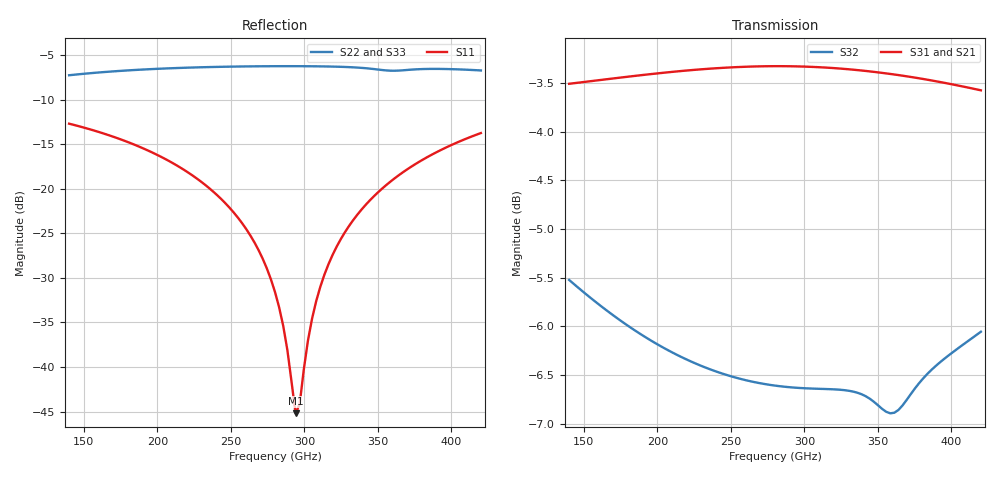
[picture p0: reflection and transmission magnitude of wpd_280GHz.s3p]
#  GHZ S DB R 50
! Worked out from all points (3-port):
!   101 points, 140 GHz to 420 GHz, reference 50 ohm
!   strongest paths, dB at 140 GHz, 210 GHz, 280 GHz, 350 GHz, 420 GHz:
!     S31: -3.5, -3.4, -3.3, -3.4, -3.6
!     S21: -3.5, -3.4, -3.3, -3.4, -3.6
!     S32: -5.5, -6.3, -6.6, -6.8, -6.1
!   lowest |S11| = -45.2 dB at 294 GHz (marker M1), VSWR 1.01, Z = 49.5 + j0.2 ohm
!   |S11| at or under -10 dB: start of sweep to end of sweep
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140  -12.70 135.9  -3.51 -43.4  -3.51 -43.4
     -3.51 -43.4  -7.27 53.8  -5.52 -95.4
     -3.51 -43.4  -5.52 -95.4  -7.28 53.8
235.2  -19.93 107.3  -3.36 -74.1  -3.35 -74.1
       -3.36 -74.1  -6.35 11.8  -6.44 -150.7
       -3.35 -74.1  -6.44 -150.7  -6.37 11.8
263.2  -25.23 100.8  -3.34 -83.4  -3.33 -83.4
       -3.34 -83.4  -6.27 1.7  -6.56 -166.5
       -3.33 -83.4  -6.56 -166.5  -6.29 1.7
280  -31.58 101.3  -3.34 -89.0  -3.33 -89.0
     -3.34 -89.0  -6.25 -4.2  -6.61 -176.0
     -3.33 -89.0  -6.61 -176.0  -6.27 -4.2
288.4  -38.08 112.0  -3.34 -91.8  -3.33 -91.8
       -3.34 -91.8  -6.25 -7.1  -6.62 179.2
       -3.33 -91.8  -6.62 179.2  -6.27 -7.1
294  -45.19 158.5  -3.34 -93.7  -3.33 -93.7
     -3.34 -93.7  -6.25 -9.1  -6.63 176.0
     -3.33 -93.7  -6.63 176.0  -6.27 -9.1
308  -32.62 -112.4  -3.35 -98.3  -3.34 -98.4
     -3.35 -98.3  -6.26 -13.9  -6.64 168.0
     -3.34 -98.4  -6.64 168.0  -6.29 -14.0
330.4  -24.16 -111.6  -3.37 -105.8  -3.36 -105.9
       -3.37 -105.8  -6.36 -21.9  -6.66 155.0
       -3.36 -105.9  -6.66 155.0  -6.38 -22.0
366.8  -18.17 -121.0  -3.43 -117.9  -3.42 -118.0
       -3.43 -117.9  -6.71 -32.3  -6.81 136.3
       -3.42 -118.0  -6.81 136.3  -6.74 -32.3
420  -13.75 -137.1  -3.59 -135.4  -3.57 -135.5
     -3.59 -135.4  -6.73 -53.6  -6.06 105.3
     -3.57 -135.5  -6.06 105.3  -6.75 -53.7
